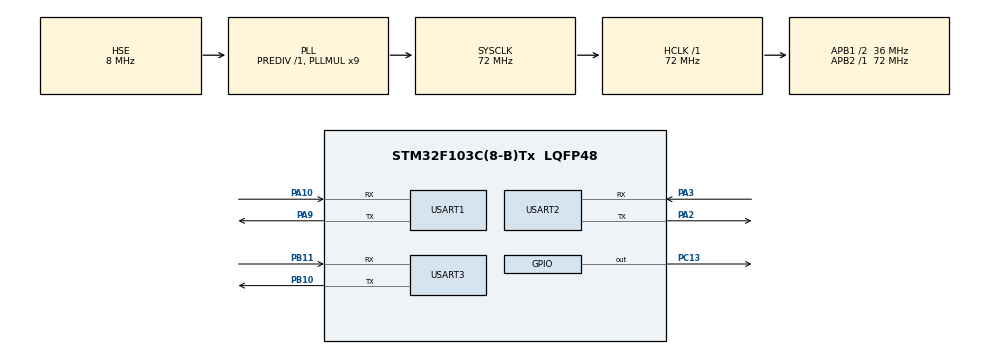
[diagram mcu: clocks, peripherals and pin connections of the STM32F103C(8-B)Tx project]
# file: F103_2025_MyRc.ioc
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Dma.Request0=USART1_RX
Dma.Request1=USART1_TX
Dma.Request2=USART2_RX
Dma.Request3=USART2_TX
Dma.Request4=USART3_RX
Dma.Request5=USART3_TX
Dma.USART1_RX.0.Direction=DMA_PERIPH_TO_MEMORY
Dma.USART1_RX.0.Instance=DMA1_Channel5
Dma.USART1_RX.0.MemDataAlignment=DMA_MDATAALIGN_BYTE
Dma.USART1_RX.0.MemInc=DMA_MINC_ENABLE
Dma.USART1_RX.0.Mode=DMA_NORMAL
Dma.USART1_RX.0.PeriphDataAlignment=DMA_PDATAALIGN_BYTE
Dma.USART1_RX.0.PeriphInc=DMA_PINC_DISABLE
Dma.USART1_RX.0.Priority=DMA_PRIORITY_LOW
Dma.USART1_TX.1.Direction=DMA_MEMORY_TO_PERIPH
Dma.USART1_TX.1.Instance=DMA1_Channel4
Dma.USART1_TX.1.MemDataAlignment=DMA_MDATAALIGN_BYTE
Dma.USART1_TX.1.MemInc=DMA_MINC_ENABLE
Dma.USART1_TX.1.Mode=DMA_NORMAL
Dma.USART1_TX.1.PeriphDataAlignment=DMA_PDATAALIGN_BYTE
Dma.USART1_TX.1.PeriphInc=DMA_PINC_DISABLE
Dma.USART1_TX.1.Priority=DMA_PRIORITY_LOW
Dma.USART2_RX.2.Direction=DMA_PERIPH_TO_MEMORY
Dma.USART2_RX.2.Instance=DMA1_Channel6
Dma.USART2_RX.2.MemDataAlignment=DMA_MDATAALIGN_BYTE
Dma.USART2_RX.2.MemInc=DMA_MINC_ENABLE
Dma.USART2_RX.2.Mode=DMA_NORMAL
Dma.USART2_RX.2.PeriphDataAlignment=DMA_PDATAALIGN_BYTE
Dma.USART2_RX.2.PeriphInc=DMA_PINC_DISABLE
Dma.USART2_RX.2.Priority=DMA_PRIORITY_LOW
Dma.USART2_TX.3.Direction=DMA_MEMORY_TO_PERIPH
Dma.USART2_TX.3.Instance=DMA1_Channel7
Dma.USART2_TX.3.MemDataAlignment=DMA_MDATAALIGN_BYTE
Dma.USART2_TX.3.MemInc=DMA_MINC_ENABLE
Dma.USART2_TX.3.Mode=DMA_NORMAL
Dma.USART2_TX.3.PeriphDataAlignment=DMA_PDATAALIGN_BYTE
Dma.USART2_TX.3.PeriphInc=DMA_PINC_DISABLE
Dma.USART2_TX.3.Priority=DMA_PRIORITY_LOW
Dma.USART3_RX.4.Direction=DMA_PERIPH_TO_MEMORY
Dma.USART3_RX.4.Instance=DMA1_Channel3
Dma.USART3_RX.4.MemDataAlignment=DMA_MDATAALIGN_BYTE
Dma.USART3_RX.4.MemInc=DMA_MINC_ENABLE
Dma.USART3_RX.4.Mode=DMA_NORMAL
Dma.USART3_RX.4.PeriphDataAlignment=DMA_PDATAALIGN_BYTE
Dma.USART3_RX.4.PeriphInc=DMA_PINC_DISABLE
Dma.USART3_RX.4.Priority=DMA_PRIORITY_LOW
Dma.USART3_TX.5.Direction=DMA_MEMORY_TO_PERIPH
Dma.USART3_TX.5.Instance=DMA1_Channel2
Dma.USART3_TX.5.MemDataAlignment=DMA_MDATAALIGN_BYTE
Dma.USART3_TX.5.MemInc=DMA_MINC_ENABLE
Dma.USART3_TX.5.Mode=DMA_NORMAL
Dma.USART3_TX.5.PeriphDataAlignment=DMA_PDATAALIGN_BYTE
Dma.USART3_TX.5.PeriphInc=DMA_PINC_DISABLE
Dma.USART3_TX.5.Priority=DMA_PRIORITY_LOW
FREERTOS.Tasks01=defaultTask,0,128,StartDefaultTask,Default,NULL,Dynamic,NULL,NULL;get_coder,-2,128,get_coder_task,As weak,NULL,Dynamic,NULL,NULL;send_coder,-2,128,send_coder_task,As weak,NULL,Dynamic,NULL,NULL
FREERTOS.configUSE_NEWLIB_REENTRANT=1
Mcu.Family=STM32F1
Mcu.Name=STM32F103C(8-B)Tx
Mcu.Package=LQFP48
NVIC.DMA1_Channel2_IRQn=true\:5\:0\:false\:false\:true\:true\:false\:true\:true
NVIC.DMA1_Channel3_IRQn=true\:5\:0\:false\:false\:true\:true\:false\:true\:true
NVIC.DMA1_Channel4_IRQn=true\:5\:0\:false\:false\:true\:true\:false\:true\:true
NVIC.DMA1_Channel5_IRQn=true\:5\:0\:false\:false\:true\:true\:false\:true\:true
NVIC.DMA1_Channel6_IRQn=true\:5\:0\:false\:false\:true\:true\:false\:true\:true
NVIC.DMA1_Channel7_IRQn=true\:5\:0\:false\:false\:true\:true\:false\:true\:true
NVIC.PriorityGroup=NVIC_PRIORITYGROUP_4
NVIC.TIM4_IRQn=true\:15\:0\:false\:false\:true\:false\:false\:true\:true
NVIC.TimeBase=TIM4_IRQn
NVIC.TimeBaseIP=TIM4
NVIC.USART1_IRQn=true\:5\:0\:false\:false\:true\:true\:true\:true\:true
NVIC.USART2_IRQn=true\:5\:0\:false\:false\:true\:true\:true\:true\:true
NVIC.USART3_IRQn=true\:5\:0\:false\:false\:true\:true\:true\:true\:true
PA10.Mode=Asynchronous
PA10.Signal=USART1_RX
PA13.Mode=Serial_Wire
PA13.Signal=SYS_JTMS-SWDIO
PA14.Mode=Serial_Wire
PA14.Signal=SYS_JTCK-SWCLK
PA2.Mode=Asynchronous
PA2.Signal=USART2_TX
PA3.Mode=Asynchronous
PA3.Signal=USART2_RX
PA9.Mode=Asynchronous
PA9.Signal=USART1_TX
PB10.Mode=Asynchronous
PB10.Signal=USART3_TX
PB11.Mode=Asynchronous
PB11.Signal=USART3_RX
PC13-TAMPER-RTC.Signal=GPIO_Output
PD0-OSC_IN.Mode=HSE-External-Oscillator
PD0-OSC_IN.Signal=RCC_OSC_IN
PD1-OSC_OUT.Mode=HSE-External-Oscillator
PD1-OSC_OUT.Signal=RCC_OSC_OUT
ProjectManager.HeapSize=0x200
ProjectManager.StackSize=0x400
ProjectManager.TargetToolchain=STM32CubeIDE
RCC.AHBFreq_Value=72000000
RCC.APB1CLKDivider=RCC_HCLK_DIV2
RCC.APB1Freq_Value=36000000
RCC.APB1TimFreq_Value=72000000
RCC.APB2Freq_Value=72000000
RCC.APB2TimFreq_Value=72000000
RCC.HCLKFreq_Value=72000000
RCC.PLLMUL=RCC_PLL_MUL9
RCC.PLLSourceVirtual=RCC_PLLSOURCE_HSE
RCC.SYSCLKFreq_VALUE=72000000
RCC.SYSCLKSource=RCC_SYSCLKSOURCE_PLLCLK
RCC.USBFreq_Value=72000000
USART1.VirtualMode=VM_ASYNC
USART2.VirtualMode=VM_ASYNC
USART3.VirtualMode=VM_ASYNC
VP_FREERTOS_VS_CMSIS_V1.Mode=CMSIS_V1
VP_SYS_VS_tim4.Mode=TIM4
board=custom

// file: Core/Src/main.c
/* USER CODE BEGIN Header */
/**
  ******************************************************************************
  * @file           : main.c
  * @brief          : Main program body
  ******************************************************************************
  * @attention
  *
  * Copyright (c) 2024 STMicroelectronics.
  * All rights reserved.
  *
  * This software is licensed under terms that can be found in the LICENSE file
  * in the root directory of this software component.
  * If no LICENSE file comes with this software, it is provided AS-IS.
  *
  ******************************************************************************
  */
/* USER CODE END Header */
#include "main.h"
#include "cmsis_os.h"
#include "dma.h"
#include "usart.h"
#include "gpio.h"

/* USER CODE BEGIN Includes */
#include "bsp_usart.h"
#include "my_rc.h"
#include "computer_up.h"
/* USER CODE END Includes */

void SystemClock_Config(void);
void MX_FREERTOS_Init(void);

int main(void)
{

  /* MCU Configuration--------------------------------------------------------*/

  /* Reset of all peripherals, Initializes the Flash interface and the Systick. */
  HAL_Init();

  /* Configure the system clock */
  SystemClock_Config();

  /* Initialize all configured peripherals */
  MX_GPIO_Init();
  MX_DMA_Init();
  MX_USART1_UART_Init();
  MX_USART2_UART_Init();
  MX_USART3_UART_Init();
  /* USER CODE BEGIN 2 */
    bsp_uasrt_init();

		uint16_t encoder=0;
  /* USER CODE END 2 */

  /* Call init function for freertos objects (in cmsis_os2.c) */
  MX_FREERTOS_Init();

  /* Start scheduler */
  osKernelStart();

  /* We should never get here as control is now taken by the scheduler */

  /* Infinite loop */
  while (1)
  {

    /* USER CODE BEGIN 3 */
//    if(begin_stop_flag)
//    {

		if(encoder%10==0)
		{
        get_coder(0x01);
        HAL_Delay(1);encoder++;
        get_coder(0x02);
        HAL_Delay(1);encoder++;
        get_coder(0x03);
        HAL_Delay(1);encoder++;
        get_coder(0x04);
        HAL_Delay(1);encoder++;
        get_coder(0x05);
        HAL_Delay(1);encoder++;
		}

		 if(encoder%33==0)
		{
        send_coder();
        HAL_Delay(1);encoder++;
		}
		else
		{
        HAL_Delay(1);encoder++;
		}
		if(encoder==1000) encoder=0;

//    }

//      Send_buff_to_blue(&huart2,2,FLOAT32,encoder_vlue.coder1);
//else HAL_Delay(10);

  }
  /* USER CODE END 3 */
}

void SystemClock_Config(void)
{
  RCC_OscInitTypeDef RCC_OscInitStruct = {0};
  RCC_ClkInitTypeDef RCC_ClkInitStruct = {0};

  /** Initializes the RCC Oscillators according to the specified parameters
  * in the RCC_OscInitTypeDef structure.
  */
  RCC_OscInitStruct.OscillatorType = RCC_OSCILLATORTYPE_HSE;
  RCC_OscInitStruct.HSEState = RCC_HSE_ON;
  RCC_OscInitStruct.HSEPredivValue = RCC_HSE_PREDIV_DIV1;
  RCC_OscInitStruct.HSIState = RCC_HSI_ON;
  RCC_OscInitStruct.PLL.PLLState = RCC_PLL_ON;
  RCC_OscInitStruct.PLL.PLLSource = RCC_PLLSOURCE_HSE;
  RCC_OscInitStruct.PLL.PLLMUL = RCC_PLL_MUL9;
  if (HAL_RCC_OscConfig(&RCC_OscInitStruct) != HAL_OK)
  {
    Error_Handler();
  }

  /** Initializes the CPU, AHB and APB buses clocks
  */
  RCC_ClkInitStruct.ClockType = RCC_CLOCKTYPE_HCLK|RCC_CLOCKTYPE_SYSCLK
                              |RCC_CLOCKTYPE_PCLK1|RCC_CLOCKTYPE_PCLK2;
  RCC_ClkInitStruct.SYSCLKSource = RCC_SYSCLKSOURCE_PLLCLK;
  RCC_ClkInitStruct.AHBCLKDivider = RCC_SYSCLK_DIV1;
  RCC_ClkInitStruct.APB1CLKDivider = RCC_HCLK_DIV2;
  RCC_ClkInitStruct.APB2CLKDivider = RCC_HCLK_DIV1;

  if (HAL_RCC_ClockConfig(&RCC_ClkInitStruct, FLASH_LATENCY_2) != HAL_OK)
  {
    Error_Handler();
  }
}

/* USER CODE BEGIN 4 */
void get_coder_task(void *argument)
{
  /* USER CODE BEGIN get_coder_task */
  /* Infinite loop */
  for(;;)
  {
		    get_coder(0x01);
        osDelay(2);
        get_coder(0x02);
        osDelay(2);
        get_coder(0x03);
        osDelay(2);
        get_coder(0x04);
        osDelay(2);
        get_coder(0x05);
        osDelay(2);

  }
  /* USER CODE END get_coder_task */
}
void send_coder_task(void *argument)
{
  /* USER CODE BEGIN send_coder_task */
  /* Infinite loop */
  for(;;)
  {
		send_coder();
    osDelay(33);
  }
  /* USER CODE END send_coder_task */
}
/* USER CODE END 4 */

void HAL_TIM_PeriodElapsedCallback(TIM_HandleTypeDef *htim)
{
  if (htim->Instance == TIM4) {
    HAL_IncTick();
  }
}

void Error_Handler(void)
{
  __disable_irq();
  while (1)
  {
  }
}

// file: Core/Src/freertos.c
/* USER CODE BEGIN Header */
/**
  ******************************************************************************
  * File Name          : freertos.c
  * Description        : Code for freertos applications
  ******************************************************************************
  * @attention
  *
  * Copyright (c) 2025 STMicroelectronics.
  * All rights reserved.
  *
  * This software is licensed under terms that can be found in the LICENSE file
  * in the root directory of this software component.
  * If no LICENSE file comes with this software, it is provided AS-IS.
  *
  ******************************************************************************
  */
/* USER CODE END Header */

#include "FreeRTOS.h"
#include "task.h"
#include "main.h"
#include "cmsis_os.h"

osThreadId defaultTaskHandle;
osThreadId get_coderHandle;
osThreadId send_coderHandle;

void StartDefaultTask(void const * argument);
void get_coder_task(void const * argument);
void send_coder_task(void const * argument);

void MX_FREERTOS_Init(void); /* (MISRA C 2004 rule 8.1) */

/* GetIdleTaskMemory prototype (linked to static allocation support) */
void vApplicationGetIdleTaskMemory( StaticTask_t **ppxIdleTaskTCBBuffer, StackType_t **ppxIdleTaskStackBuffer, uint32_t *pulIdleTaskStackSize );

/* USER CODE BEGIN GET_IDLE_TASK_MEMORY */
static StaticTask_t xIdleTaskTCBBuffer;
static StackType_t xIdleStack[configMINIMAL_STACK_SIZE];

void vApplicationGetIdleTaskMemory( StaticTask_t **ppxIdleTaskTCBBuffer, StackType_t **ppxIdleTaskStackBuffer, uint32_t *pulIdleTaskStackSize )
{
  *ppxIdleTaskTCBBuffer = &xIdleTaskTCBBuffer;
  *ppxIdleTaskStackBuffer = &xIdleStack[0];
  *pulIdleTaskStackSize = configMINIMAL_STACK_SIZE;
  /* place for user code */
}
/* USER CODE END GET_IDLE_TASK_MEMORY */

void MX_FREERTOS_Init(void) {

  /* Create the thread(s) */
  /* definition and creation of defaultTask */
  osThreadDef(defaultTask, StartDefaultTask, osPriorityNormal, 0, 128);
  defaultTaskHandle = osThreadCreate(osThread(defaultTask), NULL);

  /* definition and creation of get_coder */
  osThreadDef(get_coder, get_coder_task, osPriorityLow, 0, 128);
  get_coderHandle = osThreadCreate(osThread(get_coder), NULL);

  /* definition and creation of send_coder */
  osThreadDef(send_coder, send_coder_task, osPriorityLow, 0, 128);
  send_coderHandle = osThreadCreate(osThread(send_coder), NULL);

}

void StartDefaultTask(void const * argument)
{
  for(;;)
  {
    osDelay(1);
  }
}

__weak void get_coder_task(void const * argument)
{
  for(;;)
  {
    osDelay(1);
  }
}

__weak void send_coder_task(void const * argument)
{
  for(;;)
  {
    osDelay(1);
  }
}
